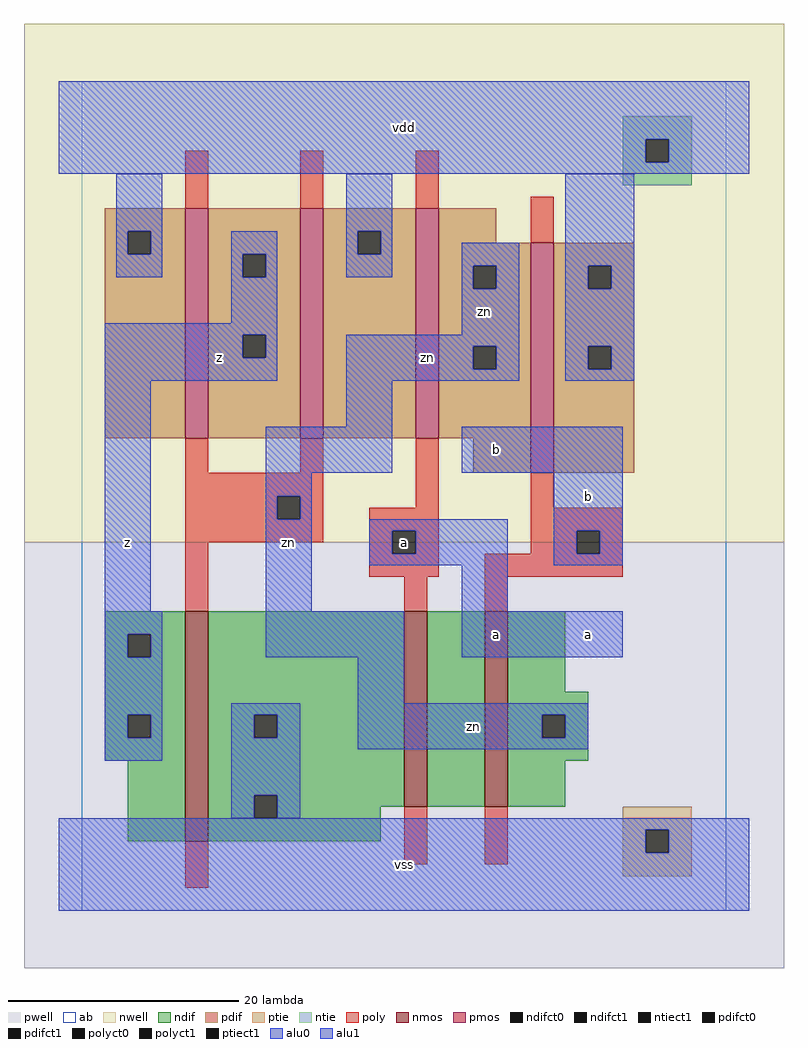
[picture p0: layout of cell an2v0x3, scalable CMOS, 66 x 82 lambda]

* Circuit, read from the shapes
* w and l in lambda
.subckt an2v0x3 a b vdd vss z zn
M1 vss zn z vss nfet w=20 l=2
M2 n1 a vss vss nfet w=17 l=2
M3 zn b n1 vss nfet w=17 l=2
M4 z zn vdd vdd pfet w=20 l=2 m=2
M5 zn a vdd vdd pfet w=20 l=2
M6 vdd b zn vdd pfet w=20 l=2
.ends

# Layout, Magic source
magic
tech scmos
<< ab >>
rect 0 0 56 72
<< nwell >>
rect -5 32 61 77
<< pwell >>
rect -5 -5 61 32
<< poly >>
rect 9 61 11 66
rect 19 61 21 66
rect 29 61 31 66
rect 39 58 41 62
rect 9 38 11 41
rect 19 38 21 41
rect 9 36 21 38
rect 9 34 17 36
rect 19 34 21 36
rect 29 35 31 41
rect 9 32 21 34
rect 25 33 31 35
rect 9 26 11 32
rect 25 31 27 33
rect 29 31 31 33
rect 39 35 41 38
rect 39 33 47 35
rect 39 31 43 33
rect 45 31 47 33
rect 25 29 31 31
rect 35 29 47 31
rect 28 26 30 29
rect 35 26 37 29
rect 9 2 11 6
rect 28 4 30 9
rect 35 4 37 9
<< ndif >>
rect 2 24 9 26
rect 2 22 4 24
rect 6 22 9 24
rect 2 17 9 22
rect 2 15 4 17
rect 6 15 9 17
rect 2 13 9 15
rect 4 6 9 13
rect 11 17 28 26
rect 11 15 15 17
rect 17 15 28 17
rect 11 10 28 15
rect 11 8 15 10
rect 17 9 28 10
rect 30 9 35 26
rect 37 19 42 26
rect 37 17 44 19
rect 37 15 40 17
rect 42 15 44 17
rect 37 13 44 15
rect 37 9 42 13
rect 17 8 26 9
rect 11 6 26 8
<< pdif >>
rect 2 59 9 61
rect 2 57 4 59
rect 6 57 9 59
rect 2 41 9 57
rect 11 57 19 61
rect 11 55 14 57
rect 16 55 19 57
rect 11 50 19 55
rect 11 48 14 50
rect 16 48 19 50
rect 11 41 19 48
rect 21 59 29 61
rect 21 57 24 59
rect 26 57 29 59
rect 21 41 29 57
rect 31 58 36 61
rect 31 56 39 58
rect 31 54 34 56
rect 36 54 39 56
rect 31 49 39 54
rect 31 47 34 49
rect 36 47 39 49
rect 31 41 39 47
rect 34 38 39 41
rect 41 56 48 58
rect 41 54 44 56
rect 46 54 48 56
rect 41 49 48 54
rect 41 47 44 49
rect 46 47 48 49
rect 41 38 48 47
<< alu1 >>
rect -2 67 58 72
rect -2 65 49 67
rect 51 65 58 67
rect -2 64 58 65
rect 13 57 17 59
rect 13 55 14 57
rect 16 55 17 57
rect 13 51 17 55
rect 2 50 17 51
rect 2 48 14 50
rect 16 48 17 50
rect 2 46 17 48
rect 2 26 6 46
rect 33 38 47 42
rect 25 33 37 34
rect 25 31 27 33
rect 29 31 37 33
rect 25 30 37 31
rect 41 33 47 38
rect 41 31 43 33
rect 45 31 47 33
rect 41 30 47 31
rect 33 26 37 30
rect 2 24 7 26
rect 2 22 4 24
rect 6 22 7 24
rect 33 22 47 26
rect 2 17 7 22
rect 2 15 4 17
rect 6 15 7 17
rect 2 13 7 15
rect -2 7 58 8
rect -2 5 49 7
rect 51 5 58 7
rect -2 0 58 5
<< ptie >>
rect 47 7 53 9
rect 47 5 49 7
rect 51 5 53 7
rect 47 3 53 5
<< ntie >>
rect 47 67 53 69
rect 47 65 49 67
rect 51 65 53 67
rect 47 63 53 65
<< nmos >>
rect 9 6 11 26
rect 28 9 30 26
rect 35 9 37 26
<< pmos >>
rect 9 41 11 61
rect 19 41 21 61
rect 29 41 31 61
rect 39 38 41 58
<< polyct0 >>
rect 17 34 19 36
<< polyct1 >>
rect 27 31 29 33
rect 43 31 45 33
<< ndifct0 >>
rect 15 15 17 17
rect 15 8 17 10
rect 40 15 42 17
<< ndifct1 >>
rect 4 22 6 24
rect 4 15 6 17
<< ntiect1 >>
rect 49 65 51 67
<< ptiect1 >>
rect 49 5 51 7
<< pdifct0 >>
rect 4 57 6 59
rect 24 57 26 59
rect 34 54 36 56
rect 34 47 36 49
rect 44 54 46 56
rect 44 47 46 49
<< pdifct1 >>
rect 14 55 16 57
rect 14 48 16 50
<< alu0 >>
rect 3 59 7 64
rect 23 59 27 64
rect 3 57 4 59
rect 6 57 7 59
rect 3 55 7 57
rect 23 57 24 59
rect 26 57 27 59
rect 23 55 27 57
rect 33 56 38 58
rect 33 54 34 56
rect 36 54 38 56
rect 33 50 38 54
rect 23 49 38 50
rect 23 47 34 49
rect 36 47 38 49
rect 23 46 38 47
rect 42 56 48 64
rect 42 54 44 56
rect 46 54 48 56
rect 42 49 48 54
rect 42 47 44 49
rect 46 47 48 49
rect 42 46 48 47
rect 23 42 27 46
rect 16 38 27 42
rect 16 36 20 38
rect 16 34 17 36
rect 19 34 20 36
rect 16 26 20 34
rect 16 22 28 26
rect 24 18 28 22
rect 13 17 19 18
rect 13 15 15 17
rect 17 15 19 17
rect 13 10 19 15
rect 24 17 44 18
rect 24 15 40 17
rect 42 15 44 17
rect 24 14 44 15
rect 13 8 15 10
rect 17 8 19 10
<< labels >>
rlabel alu0 18 32 18 32 6 zn
rlabel alu0 34 16 34 16 6 zn
rlabel alu0 35 52 35 52 6 zn
rlabel alu0 30 48 30 48 6 zn
rlabel alu1 4 32 4 32 6 z
rlabel alu1 12 48 12 48 6 z
rlabel alu1 28 4 28 4 6 vss
rlabel polyct1 28 32 28 32 6 a
rlabel alu1 36 24 36 24 6 a
rlabel alu1 36 40 36 40 6 b
rlabel alu1 28 68 28 68 6 vdd
rlabel alu1 44 24 44 24 6 a
rlabel alu1 44 36 44 36 6 b
<< end >>
